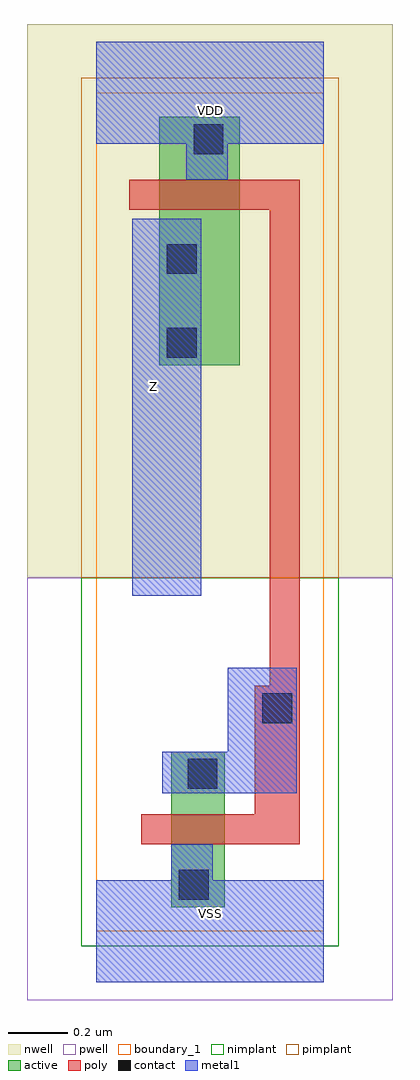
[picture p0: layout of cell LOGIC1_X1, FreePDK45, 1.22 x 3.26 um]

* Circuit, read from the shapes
.subckt LOGIC1_X1 VDD VSS Z
M1 n1 n1 VSS VSUBS nfet w=0.18u l=0.1u
M2 VDD n1 Z n2 pfet w=0.27u l=0.1u
.ends

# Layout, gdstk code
import gdstk
lib = gdstk.Library(unit=1e-6, precision=1e-09)
def R(c, l, rs):  # rectangles x0, y0, x1, y1
    for r in rs: c.add(gdstk.rectangle(r[:2], r[2:], *l))
def P(c, l, *ps):  # polygons
    for p in ps: c.add(gdstk.Polygon(p, *l))
active = (1, 0)
pwell = (2, 0)
nwell = (3, 0)
nimplant = (4, 0)
pimplant = (5, 0)
poly = (9, 0)
contact = (10, 0)
metal1 = (11, 0)
boundary_1 = (235, 1)

logic1_x1 = lib.new_cell('LOGIC1_X1')
R(logic1_x1, active, [(0.25,0.08,0.43,0.6), (0.21,1.89,0.48,2.72)])
R(logic1_x1, pwell, [(-0.23,-0.23,0.99,1.18)])
R(logic1_x1, nwell, [(-0.23,1.18,0.99,3.03)])
R(logic1_x1, nimplant, [(-0.05,-0.05,0.81,1.18)])
R(logic1_x1, pimplant, [(-0.05,1.18,0.81,2.85)])
P(logic1_x1, poly, [(0.11,2.41),(0.58,2.41),(0.58,0.82),(0.53,0.82),(0.53,0.39),(0.15,0.39),(0.15,0.29),(0.68,0.29),(0.68,2.51),(0.11,2.51)])
R(logic1_x1, contact, [(0.275,0.105,0.375,0.205), (0.305,0.475,0.405,0.575), (0.555,0.695,0.655,0.795), (0.235,1.915,0.335,2.015), (0.235,2.195,0.335,2.295), (0.325,2.595,0.425,2.695)])
R(logic1_x1, metal1, [(0.12,1.12,0.35,2.38), (0.12,1.12,0.35,2.38)])
P(logic1_x1, metal1, [(0,-0.17),(0.76,-0.17),(0.76,0.17),(0.39,0.17),(0.39,0.29),(0.25,0.29),(0.25,0.17),(0,0.17)],
  [(0,2.63),(0.3,2.63),(0.3,2.51),(0.44,2.51),(0.44,2.63),(0.76,2.63),(0.76,2.97),(0,2.97)],
  [(0,2.63),(0.3,2.63),(0.3,2.51),(0.44,2.51),(0.44,2.63),(0.76,2.63),(0.76,2.97),(0,2.97)],
  [(0,-0.17),(0.76,-0.17),(0.76,0.17),(0.39,0.17),(0.39,0.29),(0.25,0.29),(0.25,0.17),(0,0.17)],
  [(0.22,0.46),(0.67,0.46),(0.67,0.88),(0.44,0.88),(0.44,0.6),(0.22,0.6)])
R(logic1_x1, boundary_1, [(0,0,0.76,2.8)])
logic1_x1.add(gdstk.Label('Z', (0.19,1.82), layer=11, texttype=0))
logic1_x1.add(gdstk.Label('VSS', (0.38,0.06), layer=11, texttype=0))
logic1_x1.add(gdstk.Label('VDD', (0.38,2.74), layer=11, texttype=0))

lib.write_gds('LOGIC1_X1.gds')
